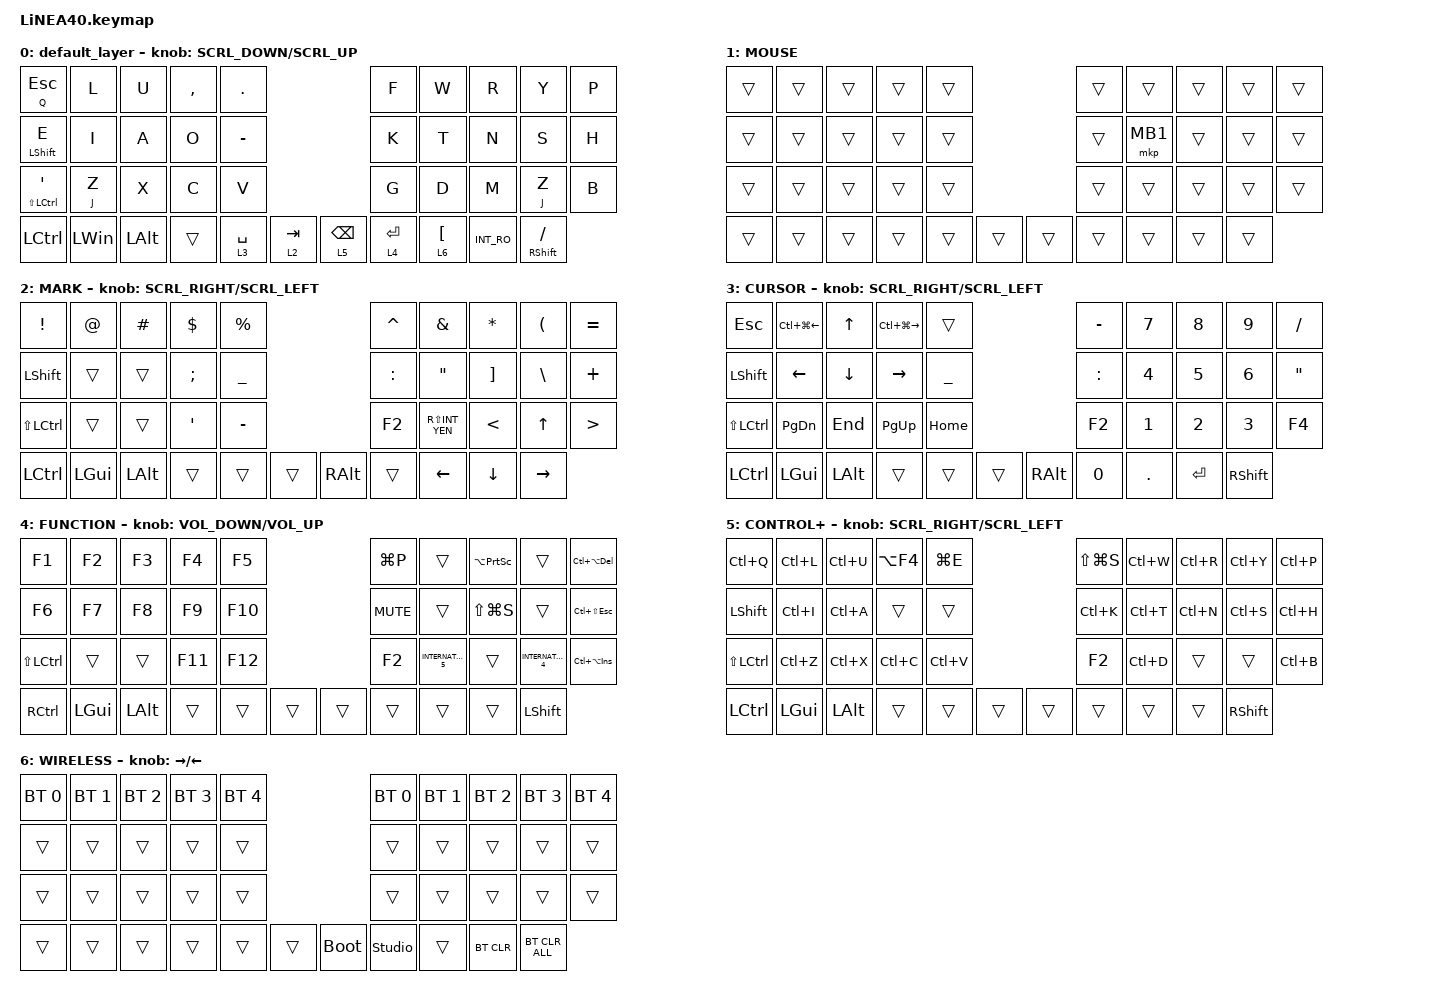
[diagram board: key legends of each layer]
#define ZMK_POINTING_DEFAULT_SCRL_VAL 150

#include <dt-bindings/zmk/input_transform.h>
#include <input/processors.dtsi>
#include <zephyr/dt-bindings/input/input-event-codes.h>
#include <behaviors.dtsi>
#include <dt-bindings/zmk/bt.h>
#include <dt-bindings/zmk/keys.h>
#include <dt-bindings/zmk/pointing.h>

#define MOUSE 1
#define MARK 2
#define CURSOR 3
#define FUNCTION 4
#define SCROLL 5
#define WIRELESS 6

//mouse cursol

&mmv {
    delay-ms = <20>;
    trigger-period-ms = <5>;
    time-to-max-speed-ms = <100>;
    acceleration-exponent = <2>;
};

//mouse scroll

&msc {
    delay-ms = <3>;
    trigger-period-ms = <3>;
    time-to-max-speed-ms = <100>;
    acceleration-exponent = <0>;
};

/ {
    input_processors {
        zip_wheel_scaler: zip_wheel_scaler {
            compatible = "zmk,input-processor-scaler";
            #input-processor-cells = <2>;
            type = <INPUT_EV_REL>;
            codes = <INPUT_REL_WHEEL>;
            track-remainders;
        };
    };
};

&msc_input_listener {
    speed_up {
        layers = <FUNCTION>;
        input-processors = <&zip_wheel_scaler 3 1>; //スクロールを3倍速にする
    };
};

&trackball_listener {
    scroller {
        layers = <SCROLL>;
        input-processors =
            <&zip_xy_transform INPUT_TRANSFORM_Y_INVERT>,
            //スクロール方向を逆転,,,,,,,,,,,,,,,,,,
            <&zip_xy_to_scroll_mapper>;
    };
};

/ {
    combos {
        compatible = "zmk,combos";

        ZenkakuHankaku {
            bindings = <&kp GRAVE>;
            key-positions = <11 12>;
        };

        DeleteKey {
            bindings = <&kp DEL>;
            key-positions = <7 8>;
        };

        InsertKey {
            bindings = <&kp INS>;
            key-positions = <6 7>;
        };

        CenterClick {
            bindings = <&mkp MB3>;
            key-positions = <17 16>;
        };

        RightClick {
            bindings = <&mkp MB2>;
            key-positions = <18 17>;
        };

        PrevClick {
            bindings = <&mkp MB4>;
            key-positions = <27 28>;
        };

        ClickNext {
            bindings = <&mkp MB5>;
            key-positions = <26 27>;
        };

        alttab {
            bindings = <&kp LA(TAB)>;
            key-positions = <12 13>;
        };

        altwin {
            bindings = <&kp LA(LEFT_GUI)>;
            key-positions = <1 2>;
        };

        combc-esc {
            bindings = <&kp ESCAPE>;
            key-positions = <0 1>;
        };

        combo-tab {
            bindings = <&kp TAB>;
            key-positions = <10 11>;
        };
    };

    behaviors {
        re_kp: sensor_rotate_kp {
            compatible = "zmk,behavior-sensor-rotate-var";
            #sensor-binding-cells = <2>;
            bindings = <&kp>, <&kp>;
        };

        mouse_scrl: mouse_wheel_scrl {
            compatible = "zmk,behavior-sensor-rotate-var";
            #sensor-binding-cells = <2>;
            bindings = <&msc>, <&msc>;

            tap-ms = <20>;
        };
    };

    keymap {
        compatible = "zmk,keymap";

        default_layer {
            bindings = <
&mt Q ESCAPE                     &kp L         &kp U         &kp COMMA  &kp PERIOD                                 &kp F        &kp W  &kp R               &kp Y       &kp P
&mt LEFT_SHIFT E                 &kp I         &kp A         &kp O      &kp MINUS                                  &kp K        &kp T  &kp N               &kp S       &kp H
&mt LS(LEFT_CONTROL) APOSTROPHE  &mt J Z       &kp X         &kp C      &kp V                                      &kp G        &kp D  &kp M               &mt J Z     &kp B
&kp LCTRL                        &kp LEFT_WIN  &kp LEFT_ALT  &trans     &lt 3 SPACE  &lt 2 TAB    &lt 5 BACKSPACE  &lt 4 ENTER         &lt 6 LEFT_BRACKET  &kp INT_RO  &mt RIGHT_SHIFT SLASH
            >;

            sensor-bindings = <&mouse_scrl SCRL_DOWN SCRL_UP>;
        };

        //1

        MOUSE {
            bindings = <
&trans  &trans  &trans  &trans  &trans                    &trans  &trans    &trans  &trans  &trans
&trans  &trans  &trans  &trans  &trans                    &trans  &mkp MB1  &trans  &trans  &trans
&trans  &trans  &trans  &trans  &trans                    &trans  &trans    &trans  &trans  &trans
&trans  &trans  &trans  &trans  &trans  &trans    &trans  &trans            &trans  &trans  &trans
            >;
        };

        //2

        MARK {
            bindings = <
&kp EXCLAMATION       &kp AT        &kp HASH      &kp DOLLAR     &kp PERCENT                              &kp CARET  &kp AMPERSAND      &kp ASTRK          &kp LEFT_PARENTHESIS  &kp EQUAL
&kp LEFT_SHIFT        &trans        &trans        &kp SEMICOLON  &kp UNDERSCORE                           &kp COLON  &kp DOUBLE_QUOTES  &kp RIGHT_BRACKET  &kp BACKSLASH         &kp PLUS
&kp LS(LEFT_CONTROL)  &trans        &trans        &kp SQT        &kp MINUS                                &kp F2     &kp RS(INT_YEN)    &kp LT             &kp UP                &kp GREATER_THAN
&kp LEFT_CONTROL      &kp LEFT_GUI  &kp LEFT_ALT  &trans         &trans          &trans    &kp RIGHT_ALT  &trans                        &kp LEFT           &kp DOWN              &kp RIGHT
            >;

            sensor-bindings = <&mouse_scrl SCRL_RIGHT SCRL_LEFT>;
        };

        //3

        CURSOR {
            bindings = <
&kp ESCAPE            &kp LC(LG(LEFT_ARROW))  &kp UP_ARROW  &kp LC(LG(RIGHT_ARROW))  &trans                                   &kp MINUS     &kp NUMBER_7  &kp NUMBER_8  &kp NUMBER_9  &kp FSLH
&kp LEFT_SHIFT        &kp LEFT_ARROW          &kp DOWN      &kp RIGHT_ARROW          &kp UNDERSCORE                           &kp COLON     &kp NUMBER_4  &kp NUMBER_5  &kp NUMBER_6  &kp DOUBLE_QUOTES
&kp LS(LEFT_CONTROL)  &kp PAGE_DOWN           &kp END       &kp PAGE_UP              &kp HOME                                 &kp F2        &kp NUMBER_1  &kp NUMBER_2  &kp NUMBER_3  &kp F4
&kp LEFT_CONTROL      &kp LEFT_GUI            &kp LEFT_ALT  &trans                   &trans          &trans    &kp RIGHT_ALT  &kp NUMBER_0                &kp DOT       &kp ENTER     &kp RIGHT_SHIFT
            >;

            sensor-bindings = <&mouse_scrl SCRL_RIGHT SCRL_LEFT>;
        };

        //4

        FUNCTION {
            bindings = <
&kp F1                &kp F2        &kp F3        &kp F4   &kp F5                     &kp LG(P)   &trans               &kp LA(PRINTSCREEN)  &trans               &kp LC(LA(DELETE))
&kp F6                &kp F7        &kp F8        &kp F9   &kp F10                    &kp C_MUTE  &trans               &kp LS(LG(S))        &trans               &kp LC(LS(ESCAPE))
&kp LS(LEFT_CONTROL)  &trans        &trans        &kp F11  &kp F12                    &kp F2      &kp INTERNATIONAL_5  &trans               &kp INTERNATIONAL_4  &kp LC(LA(INS))
&kp RIGHT_CONTROL     &kp LEFT_GUI  &kp LEFT_ALT  &trans   &trans   &trans    &trans  &trans                           &trans               &trans               &kp LEFT_SHIFT
            >;

            sensor-bindings = <&re_kp C_VOLUME_DOWN C_VOLUME_UP>;
        };

        //5

        CONTROL+ {
            bindings = <
&kp LC(Q)             &kp LC(L)     &kp LC(U)     &kp LA(F4)  &kp LG(E)                    &kp LS(LG(S))  &kp LC(W)  &kp LC(R)  &kp LC(Y)  &kp LC(P)
&kp LEFT_SHIFT        &kp LC(I)     &kp LC(A)     &trans      &trans                       &kp LC(K)      &kp LC(T)  &kp LC(N)  &kp LC(S)  &kp LC(H)
&kp LS(LEFT_CONTROL)  &kp LC(Z)     &kp LC(X)     &kp LC(C)   &kp LC(V)                    &kp F2         &kp LC(D)  &trans     &trans     &kp LC(B)
&kp LEFT_CONTROL      &kp LEFT_GUI  &kp LEFT_ALT  &trans      &trans     &trans    &trans  &trans                    &trans     &trans     &kp RIGHT_SHIFT
            >;

            sensor-bindings = <&mouse_scrl SCRL_RIGHT SCRL_LEFT>;
        };

        //6

        WIRELESS {
            bindings = <
&bt BT_SEL 0  &bt BT_SEL 1  &bt BT_SEL 2  &bt BT_SEL 3  &bt BT_SEL 4                         &bt BT_SEL 0    &bt BT_SEL 1  &bt BT_SEL 2  &bt BT_SEL 3  &bt BT_SEL 4
&trans        &trans        &trans        &trans        &trans                               &trans          &trans        &trans        &trans        &trans
&trans        &trans        &trans        &trans        &trans                               &trans          &trans        &trans        &trans        &trans
&trans        &trans        &trans        &trans        &trans        &trans    &bootloader  &studio_unlock                &trans        &bt BT_CLR    &bt BT_CLR_ALL
            >;

            sensor-bindings = <&inc_dec_kp RIGHT_ARROW LEFT_ARROW>;
        };
    };
};
